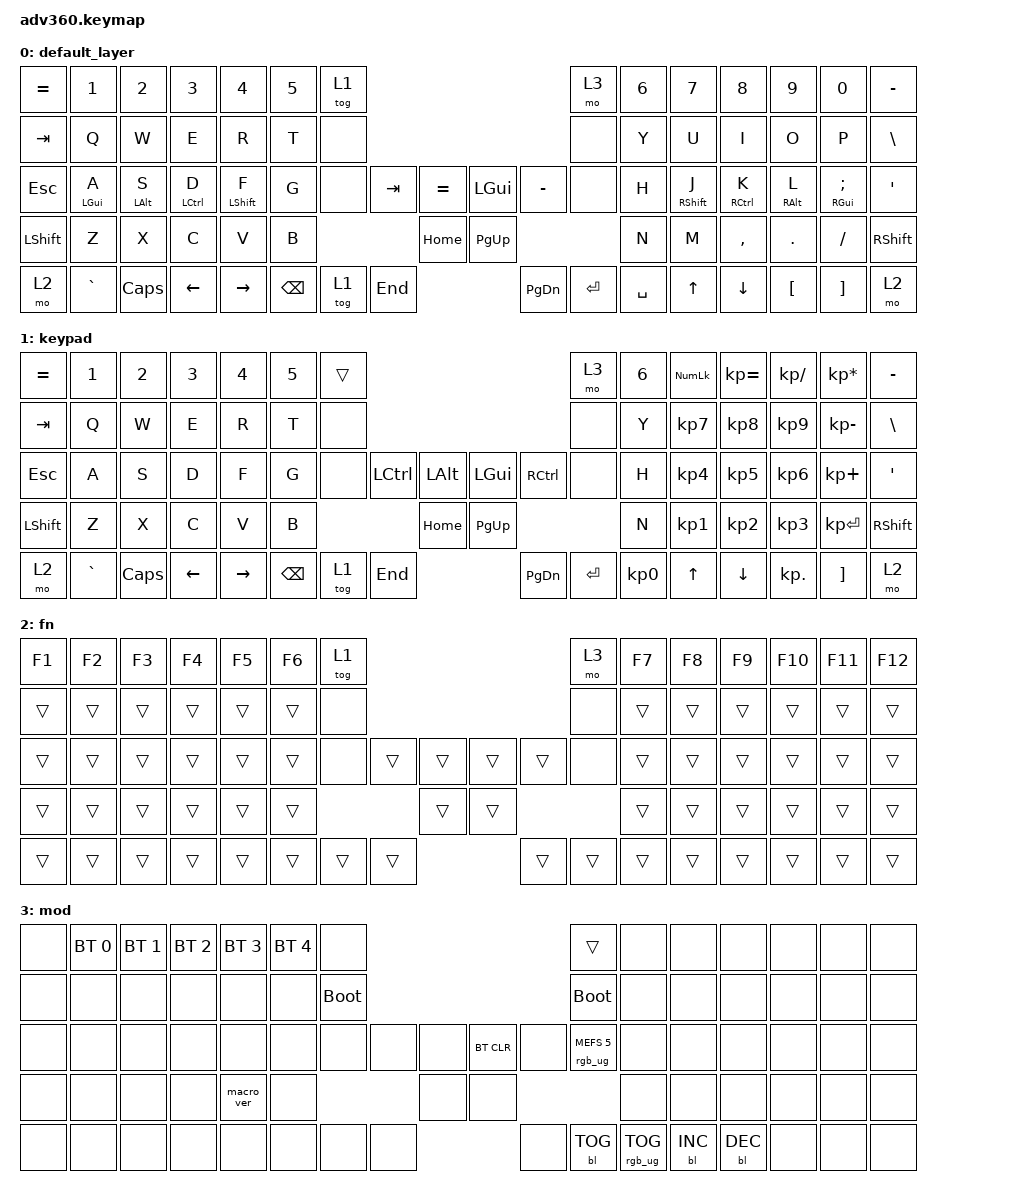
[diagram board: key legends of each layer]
#include <behaviors.dtsi>
#include <dt-bindings/zmk/keys.h>
#include <dt-bindings/zmk/bt.h>
#include <dt-bindings/zmk/rgb.h>
#include <dt-bindings/zmk/backlight.h>

/ {
    behaviors {
      #include "macros.dtsi"
      #include "version.dtsi"
      #ifndef VERSION_MACRO
      macro_ver: macro_ver {
        compatible = "zmk,behavior-macro";
        label = "macro_version";
        #binding-cells = <0>;
        bindings = <&kp RET>;
      };
      #endif

      hm: homerow_mods {
          compatible = "zmk,behavior-hold-tap";
          label = "HOMEROW_MODS";
          #binding-cells = <2>;
          tapping-term-ms = <200>;
          quick_tap_ms = <175>;
          flavor = "tap-preferred";
          bindings = <&kp>, <&kp>;
      };

      lh: left_hand_homerow_mods {
          compatible = "zmk,behavior-hold-tap";
          #binding-cells = <2>;
          flavor = "tap-unless-interrupted";
          tapping-term-ms = <500>;                        // <---[[produces tap if held longer than tapping-term-ms]]
          quick-tap-ms = <200>;
          bindings = <&kp>, <&kp>;
          hold-trigger-key-positions = <7 8 9 10 11 12 13 21 22 23 24 25 26 27 37 38 39 40 41 42 43 44 45 53 54 55 56 57 58 59 68 69 70 71 72 73 74 75>;    // <---[[right-hand keys]]
      };
      
      rh: right_hand_homerow_mods {
          compatible = "zmk,behavior-hold-tap";
          #binding-cells = <2>;
          flavor = "tap-unleserrupted";
          tapping-term-ms = <500>;                        // <---[[produces tap if held longer than tapping-term-ms]]
          quick-tap-ms = <200>;
          bindings = <&kp>, <&kp>;
          hold-trigger-key-positions = <0 1 2 3 4 5 6 14 15 16 17 18 19 20 28 29 30 31 32 33 34 35 36 46 47 48 49 50 51 52 60 61 62 63 64 65 66 67>;    // <---[[left-hand keys]]
      };
    };

  keymap {
    compatible = "zmk,keymap";

    default_layer {
      bindings = <
        &kp EQUAL &kp N1    &kp N2   &kp N3   &kp N4     &kp N5 &tog 1                                                           &mo 3 &kp N6 &kp N7 &kp N8    &kp N9   &kp N0   &kp MINUS
        &kp TAB   &kp Q     &kp W    &kp E    &kp R      &kp T  &none                                                            &none &kp Y  &kp U  &kp I     &kp O    &kp P    &kp BSLH
        &kp ESC   &lh LGUI A &lh LALT S &lh LCTRL D &lh LSHFT F &kp G  &none           &kp TAB &kp EQUAL &kp LGUI  &kp MINUS     &none &kp H  &rh RSHFT J &rh RCTRL K &rh RALT L &rh RGUI SEMI &kp SQT
        &kp LSHFT &kp Z     &kp X    &kp C    &kp V      &kp B                            &kp HOME &kp PG_UP                           &kp N  &kp M  &kp COMMA &kp DOT  &kp FSLH &kp RSHFT
        &mo 2     &kp GRAVE &kp CAPS &kp LEFT &kp RIGHT                &kp BSPC &tog 1   &kp END  &kp PG_DN &kp ENTER &kp SPACE              &kp UP &kp DOWN  &kp LBKT &kp RBKT &mo 2
      >;
    };
    keypad {
      bindings = <
        &kp EQUAL &kp N1    &kp N2   &kp N3   &kp N4     &kp N5 &trans                                                           &mo 3 &kp N6 &kp KP_NUM &kp KP_EQUAL &kp KP_DIVIDE &kp KP_MULTIPLY &kp MINUS
        &kp TAB   &kp Q     &kp W    &kp E    &kp R      &kp T  &none                                                            &none &kp Y  &kp KP_N7  &kp KP_N8    &kp KP_N9     &kp KP_MINUS    &kp BSLH
        &kp ESC   &kp A     &kp S    &kp D    &kp F      &kp G  &none           &kp LCTRL &kp LALT &kp LGUI  &kp RCTRL           &none &kp H  &kp KP_N4  &kp KP_N5    &kp KP_N6     &kp KP_PLUS     &kp SQT
        &kp LSHFT &kp Z     &kp X    &kp C    &kp V      &kp B                            &kp HOME &kp PG_UP                           &kp N  &kp KP_N1  &kp KP_N2    &kp KP_N3     &kp KP_ENTER    &kp RSHFT
        &mo 2     &kp GRAVE &kp CAPS &kp LEFT &kp RIGHT                &kp BSPC &tog 1   &kp END  &kp PG_DN &kp ENTER &kp KP_N0              &kp UP     &kp DOWN     &kp KP_DOT    &kp RBKT        &mo 2
      >;
    };
    fn {
      bindings = <
        &kp F1 &kp F2 &kp F3 &kp F4 &kp F5 &kp F6 &tog 1                                           &mo 3 &kp F7 &kp F8 &kp F9 &kp F10 &kp F11 &kp F12
        &trans &trans &trans &trans &trans &trans  &none                                           &none &trans &trans &trans &trans  &trans  &trans
        &trans &trans &trans &trans &trans &trans  &none        &trans &trans &trans &trans        &none &trans &trans &trans &trans  &trans  &trans
        &trans &trans &trans &trans &trans &trans                      &trans &trans                     &trans &trans &trans &trans  &trans  &trans
        &trans &trans &trans &trans &trans               &trans &trans &trans &trans &trans &trans              &trans &trans &trans  &trans  &trans
      >;
    };
    mod {
      bindings = <
        &none &bt BT_SEL 0 &bt BT_SEL 1 &bt BT_SEL 2 &bt BT_SEL 3 &bt BT_SEL 4 &none                                                                     &trans                 &none        &none        &none        &none &none &none
        &none &none        &none        &none        &none        &none        &bootloader                                                               &bootloader            &none        &none        &none        &none &none &none
        &none &none        &none        &none        &none        &none        &none                   &none &none &bt BT_CLR &none                      &rgb_ug RGB_MEFS_CMD 5 &none        &none        &none        &none &none &none
        &none &none        &none        &none        &macro_ver   &none                                      &none &none                                                        &none        &none        &none        &none &none &none
        &none &none        &none        &none        &none                                       &none &none &none &none      &bl BL_TOG &rgb_ug RGB_TOG                                     &bl BL_INC   &bl BL_DEC   &none &none &none
      >;
    };
  };
};
